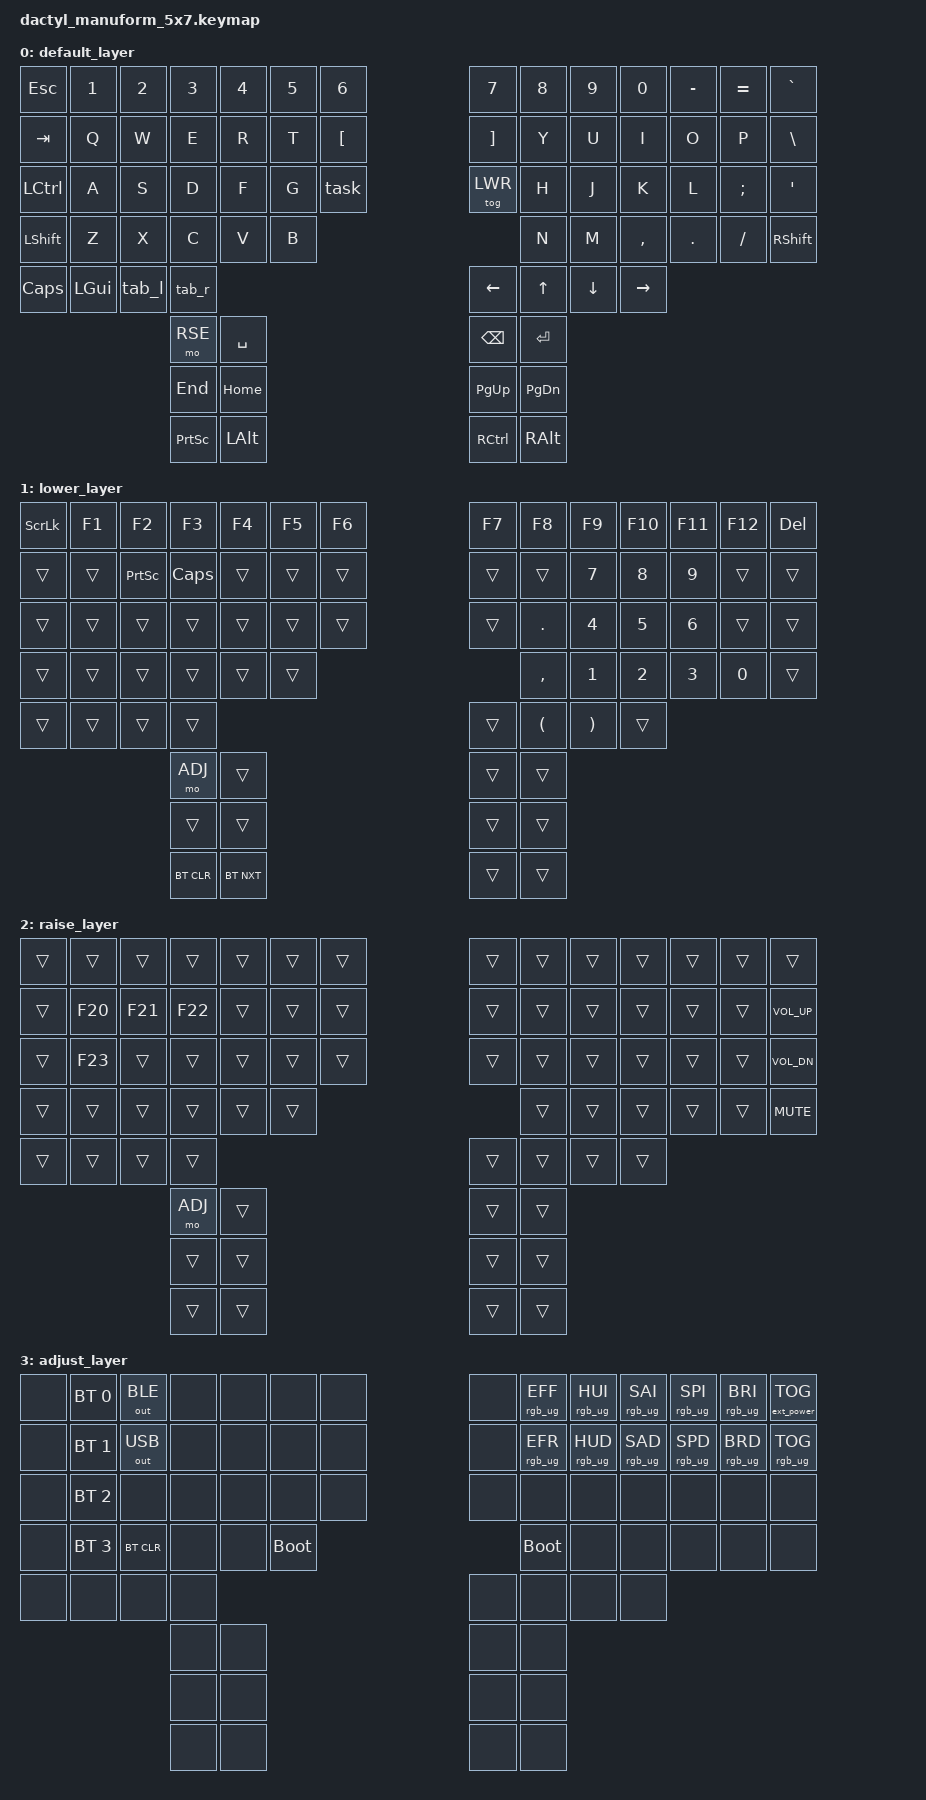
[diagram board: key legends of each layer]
#include <behaviors.dtsi>
#include <dt-bindings/zmk/keys.h>
#include <dt-bindings/zmk/bt.h>
#include <dt-bindings/zmk/rgb.h>
#include <dt-bindings/zmk/ext_power.h>
#include <dt-bindings/zmk/outputs.h>

#define DEFAULT 0
#define LWR 1
#define RSE 2
#define ADJ 3
#// -----------------------------------------------------------------------------------------------------------------------------------------------------------------
#// [MACROS]
#// TASK   LCTL(LSFT(KC_ESC))
#// TAB_R  LCTL(KC_TAB)
#// TAB_L  LCTL(LSFT(KC_TAB))
#// TAB_RO LCTL(LSFT(KC_T))
#// -----------------------------------------------------------------------------------------------------------------------------------------------------------------
#// | ESC   | 1     | 2      | 3     | 4    | 5        | 6                       | [LEFT <-> RIGHT]  |  7           | 8     | 9    | 0    | -    | =     | GRAVE  |
#// | TAB   | Q     | W      | E     | R    | T        | [                       | [LEFT <-> RIGHT]  |  ]           | Y     | U    | I    | O    | P     | \      |
#// | LCTRL | A     | S      | D     | F    | G        | LCTRL(LSHFT(KC_TAB))    | [LEFT <-> RIGHT]  |  TOGGLE 1    | H     | J    | K    | L    | ;     | '      |
#// | LSHFT | Z     | X      | C     | V    | B        | NONE                    | [LEFT <-> RIGHT]  |  NONE        | N     | M    | ,    | .    | /     | RSHFT  |
#// | CAPS  | LGUI  | TAB_L  | TAB_R | NONE | TOGGLE 2 | SPACE                   | [LEFT <-> RIGHT]  |  BACKSPACE   | ENTER | LEFT | UP   | DOWN | RIGHT | NONE   | 
#// | NONE  | NONE  | NONE   | NONE  | NONE | END      | HOME                    | [LEFT <-> RIGHT]  |  PGUP        | PGDWN | NONE | NONE | NONE | NONE  | NONE   | 
#// | NONE  | NONE  | NONE   | NONE  | NONE | PRTSCR   | TASK                    | [LEFT <-> RIGHT]  |  CTRL        | ALT   | NONE | NONE | NONE | NONE  | NONE   | 
#// -----------------------------------------------------------------------------------------------------------------------------------------------------------------

/ {
  macros {
    task: task {
            compatible = "zmk,behavior-macro";
            #binding-cells = <0>;
            bindings
                = <&macro_press &kp LSHFT>
                , <&macro_press &kp LCTRL>
                , <&macro_press &kp ESC>
                , <&macro_release &kp ESC>
                , <&macro_release &kp LCTRL>
                , <&macro_release &kp LSHFT>
                ;
    };
    tab_r: tab_r {
            compatible = "zmk,behavior-macro";
            #binding-cells = <0>;
            bindings
                = <&macro_press &kp LCTRL>
                , <&macro_tap &kp TAB>
                , <&macro_release &kp LCTRL>
                ;
    };
    tab_l: tab_l {
            compatible = "zmk,behavior-macro";
            #binding-cells = <0>;
            bindings
                = <&macro_press &kp LCTRL>
                , <&macro_press &kp LSHFT>
                , <&macro_tap &kp TAB>
                , <&macro_release &kp LSHFT>
                , <&macro_release &kp LCTRL>
                ;
  };

  };
    keymap {
        compatible = "zmk,keymap";

        default_layer {
            bindings = <
                &kp  ESC   &kp N1   &kp N2 &kp N3 &kp N4 &kp N5 &kp N6                  &kp N7   &kp N8 &kp N9 &kp N0   &kp MINUS   &kp EQUAL   &kp GRAVE
                &kp  TAB   &kp Q    &kp W  &kp E  &kp R  &kp T  &kp LBKT                &kp RBKT &kp Y  &kp U  &kp I    &kp O       &kp P       &kp BSLH
                &kp  LCTRL &kp A    &kp S  &kp D  &kp F  &kp G  &task                   &tog LWR &kp H  &kp J  &kp K     &kp L     &kp SEMI     &kp SQT
                &kp  LSHFT  &kp Z    &kp X  &kp C  &kp V  &kp B                                  &kp N  &kp M  &kp COMMA  &kp DOT   &kp FSLH  &kp RSHFT
                &kp  CAPS  &kp LGUI &tab_l &tab_r                                 &kp LEFT  &kp UP  &kp DOWN  &kp RIGHT
                                            &mo RSE  &kp SPACE                          &kp BSPC  &kp RET 
                                            &kp END   &kp HOME                          &kp PG_UP &kp PG_DN
                                            &kp PSCRN &kp LALT                         &kp RCTRL &kp RALT 
            >;
        };

        lower_layer {
            bindings = <
               &kp SLCK &kp F1 &kp F2    &kp F3 &kp F4 &kp F5 &kp F6          &kp F7 &kp F8    &kp F9   &kp F10  &kp F11  &kp F12   &kp DEL
                &trans  &trans &kp PSCRN &kp CAPS &trans &trans &trans        &trans &trans    &kp N7   &kp N8   &kp N9   &trans    &trans
                &trans  &trans &trans    &trans &trans &trans &trans          &trans &kp DOT   &kp N4   &kp N5   &kp N6   &trans    &trans
                &trans  &trans &trans    &trans &trans &trans                        &kp COMMA &kp N1   &kp N2   &kp N3   &kp N0    &trans
                &trans  &trans &trans    &trans                                                      &trans   &kp LPAR &kp RPAR    &trans
                                             &mo ADJ &trans                        &trans &trans
                                             &trans  &trans                        &trans &trans
                                             &bt BT_CLR &bt BT_NXT                 &trans &trans
            >;
        };

        raise_layer {
            bindings = <
              &trans  &trans &trans &trans &trans &trans &trans         &trans  &trans &trans &trans &trans &trans &trans
             &trans &kp F20 &kp F21 &kp F22 &trans &trans &trans        &trans  &trans &trans &trans &trans &trans &kp K_VOL_UP
              &trans &kp F23 &trans &trans &trans &trans &trans         &trans  &trans &trans &trans &trans &trans &kp K_VOL_DN
              &trans  &trans &trans &trans &trans &trans                        &trans &trans &trans &trans &trans &kp K_MUTE
              &trans  &trans &trans &trans                                                    &trans &trans &trans &trans
                                             &mo ADJ &trans                       &trans &trans
                                             &trans  &trans                       &trans &trans
                                             &trans  &trans                       &trans &trans
            >;
        };

        adjust_layer {
            bindings = <
                &none &bt BT_SEL 0 &out OUT_BLE &none &none  &none &none        &none &rgb_ug RGB_EFF &rgb_ug RGB_HUI &rgb_ug RGB_SAI &rgb_ug RGB_SPI &rgb_ug RGB_BRI &ext_power EP_TOG
                &none &bt BT_SEL 1 &out OUT_USB &none &none  &none &none        &none &rgb_ug RGB_EFR &rgb_ug RGB_HUD &rgb_ug RGB_SAD &rgb_ug RGB_SPD &rgb_ug RGB_BRD &rgb_ug RGB_TOG
                &none &bt BT_SEL 2 &none        &none &none  &none &none        &none &none           &none           &none           &none           &none           &none 
                &none &bt BT_SEL 3 &bt BT_CLR   &none &none  &bootloader              &bootloader     &none           &none           &none           &none           &none
                &none &none        &none        &none                                                                 &none           &none           &none           &none
                                                            &none &none                      &none &none
                                                                  &none &none          &none &none
                                                                  &none &none          &none &none
            >;
        };
    };
};
